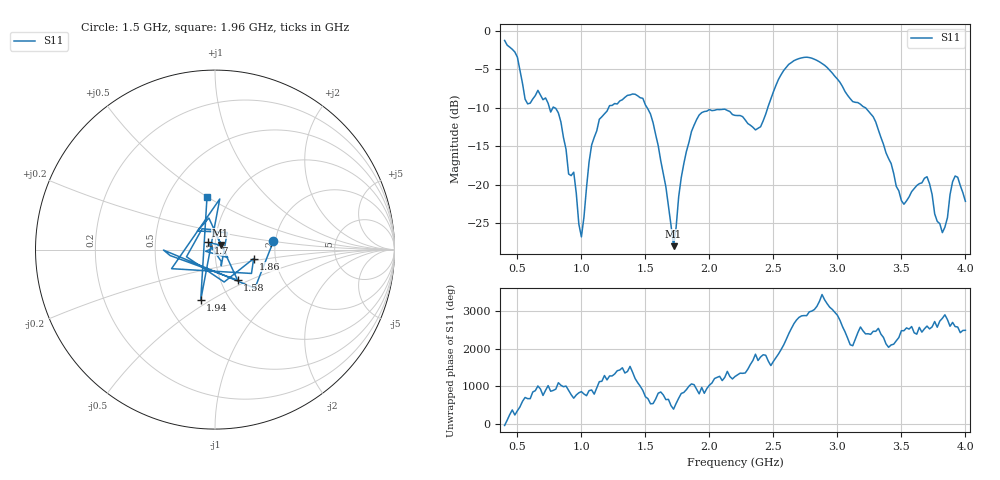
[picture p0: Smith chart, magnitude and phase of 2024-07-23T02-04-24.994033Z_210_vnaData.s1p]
!Created with skrf (http://scikit-rf.org).
# Hz S RI R 50.0
!freq ReS11 ImS11
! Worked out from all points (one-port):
!   181 points, 400 MHz to 4 GHz, reference 50 ohm
!   lowest |S11| = -28.0 dB at 1.72 GHz (marker M1), VSWR 1.08, Z = 53.1 + j2.68 ohm
!   |S11| at or under -10 dB: 788.6 MHz to 1.213 GHz (424.1 MHz wide, 42.4 % of centre); 1.513 GHz to 2.456 GHz (943.2 MHz wide, 47.5 % of centre); 3.218 GHz to end of sweep (the widest 3 of 4)
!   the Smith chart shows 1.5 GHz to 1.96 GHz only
!   S11 on the Smith chart (normalised r, x): 1.5 GHz: 1.95, +0.21; 1.58 GHz: 1.20, -0.43; 1.7 GHz: 0.93, +0.07; 1.86 GHz: 1.54, -0.16; 1.94 GHz: 0.73, -0.45; 1.96 GHz: 0.77, +0.50
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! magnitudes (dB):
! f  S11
! 400 MHz  -1.3
! 580 MHz  -9.5
! 660 MHz  -7.8
! 860 MHz  -13.9
! 900 MHz  -18.6
! 940 MHz  -18.4
! 1 GHz  -26.8
! 1.08 GHz  -14.9
! 1.3 GHz  -9.1
! 1.5 GHz  -9.6
! 1.58 GHz  -13.5
! 1.7 GHz  -25.3
! 1.72 GHz  -28.0
! 1.76 GHz  -21.6
! 1.86 GHz  -13.1
! 1.94 GHz  -10.6
! 1.96 GHz  -10.5
! 2.2 GHz  -11.0
! 2.4 GHz  -12.5
! 2.66 GHz  -3.9
! 3.1 GHz  -8.8
! 3.28 GHz  -11.2
! 3.5 GHz  -22.1
! 3.56 GHz  -21.6
! 3.7 GHz  -19.0
! 3.82 GHz  -26.3
! 3.92 GHz  -18.9
! 4 GHz  -22.2
